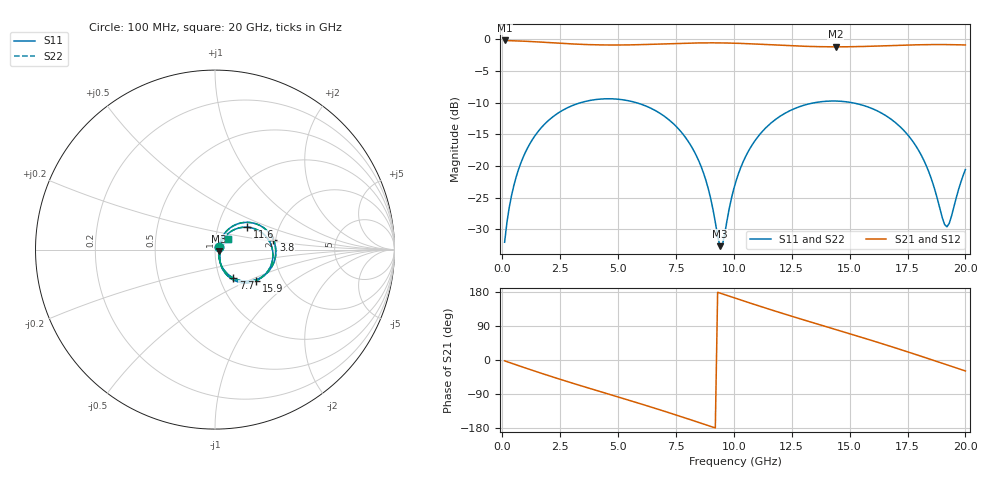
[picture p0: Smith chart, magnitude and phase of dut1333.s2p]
! Touchstone file exported from HFSS 2026.1.0
!  File:  C:/ffzhzh/LocalFiles/Ansys_Project_Files/temp_train_TSV_RDL_1333_1783338205_38704.aedt
!  Generated:  07:57:48 PM Jul  6, 2026
!  Design:  TSV_RDL
!  Project:  temp_train_TSV_RDL_1333_1783338205_38704
! Variables:
!  h_bsmrdl = 4.74um
!  h_ox = 20um
!  h_rdl = 5um
!  h_sub = 99.41um
!  h_tmrdl = 5.89um
!  h_tsv = 99.41um
!  h_via = 3um
!  l_bsmrdl = 897.78um
!  l_sub = 6560.26um
!  l_tmrdl = 827.34um
!  m_sub = 200um
!  pitch = 40.85um
!  r_tsv = 5.16um
!  s_tmrdl = 10um
!  w_bsmrdl = 24.52um
!  w_sub = 500um
!  w_tmrdl = 28um
!  x_tsv_center1 = 841.34um
!  x_tsv_center2 = 1763.64um
!  x_tsv_center3 = 2618.98um
!  x_tsv_center4 = 3541.28um
!  x_tsv_center5 = 4396.62um
!  x_tsv_center6 = 5318.92um
# GHz S MA R 50.000000
! Terminal data exported
! Port[1] = TM_RDL1_1_T1
! Port[2] = TM_RDL5_1_T1
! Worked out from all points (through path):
!   200 points, 100 MHz to 20 GHz, reference 50 ohm
!   highest |S21| = -0.17 dB at 100 MHz (marker M1); lowest = -1.2 dB at 14.4 GHz (marker M2)
!   group delay of S21, straight-line fit = 53.6 ps
!   lowest |S11| = -32.7 dB at 9.4 GHz (marker M3), VSWR 1.05, Z = 52.2 - j0.827 ohm
!   |S11| at or under -10 dB: start of sweep to 3.388 GHz; 5.784 GHz to 13.5 GHz (7.713 GHz wide, 80 % of centre); 15.1 GHz to end of sweep
!   |S22| runs from -32.9 to -9.4 dB; largest |S21 - S12| = 1.7e-14
!   S11 on the Smith chart (normalised r, x): 100 MHz: 1.04, +0.03; 3.8 GHz: 1.94, +0.24; 7.7 GHz: 1.16, -0.38; 11.6 GHz: 1.38, +0.36; 15.9 GHz: 1.47, -0.56; 20 GHz: 1.15, +0.14
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0.1  0.02497 35.6  0.9802 -2.3  0.9802 -2.3  0.02497 35.6
! Gamma 0 0 0 0
! Port Impedance 50 0 50 0
0.5  0.07015 59.5  0.9739 -10.7  0.9739 -10.7  0.07015 59.5
1.2  0.1507 54.7  0.9621 -25.2  0.9621 -25.2  0.1507 54.7
2.2  0.2458 37.9  0.9384 -45.2  0.9384 -45.2  0.2458 37.9
3.5  0.3204 14.9  0.9119 -69.9  0.9119 -69.9  0.3205 14.8
3.8  0.3296 9.6  0.9079 -75.4  0.9079 -75.4  0.3296 9.6
5.3  0.3312 -16.3  0.9032 -103.0  0.9032 -103.0  0.3312 -16.4
6.8  0.2613 -42.2  0.9186 -131.3  0.9186 -131.3  0.2614 -42.3
7.7  0.188 -57.2  0.9304 -149.0  0.9304 -149.0  0.1881 -57.3
8.7  0.08685 -68.3  0.9382 -169.1  0.9382 -169.1  0.08684 -68.7
9.4  0.02325 -19.9  0.9376 176.6  0.9376 176.6  0.02269 -20.6
9.5  0.02351 6.2  0.9371 174.6  0.9371 174.6  0.02289 6.3
10.1  0.07657 52.0  0.9316 162.4  0.9316 162.4  0.07627 52.4
10.7  0.1378 48.2  0.9227 150.3  0.9227 150.3  0.1376 48.4
11.6  0.2179 34.8  0.906 132.6  0.906 132.6  0.2178 35.0
13.4  0.3137 4.7  0.8778 98.7  0.8778 98.7  0.3137 4.8
14.4  0.3256 -12.0  0.8729 80.4  0.8729 80.4  0.3256 -12.0
15.9  0.2875 -37.1  0.8817 52.6  0.8817 52.6  0.2875 -37.0
16.7  0.2405 -50.1  0.8916 37.3  0.8916 37.3  0.2405 -50.1
18.1  0.1211 -68.4  0.9071 9.7  0.9071 9.7  0.1211 -68.5
19.2  0.03306 -13.9  0.9091 -12.7  0.9091 -12.7  0.03267 -14.0
20  0.09372 38.4  0.9028 -28.9  0.9028 -28.9  0.0935 38.7
